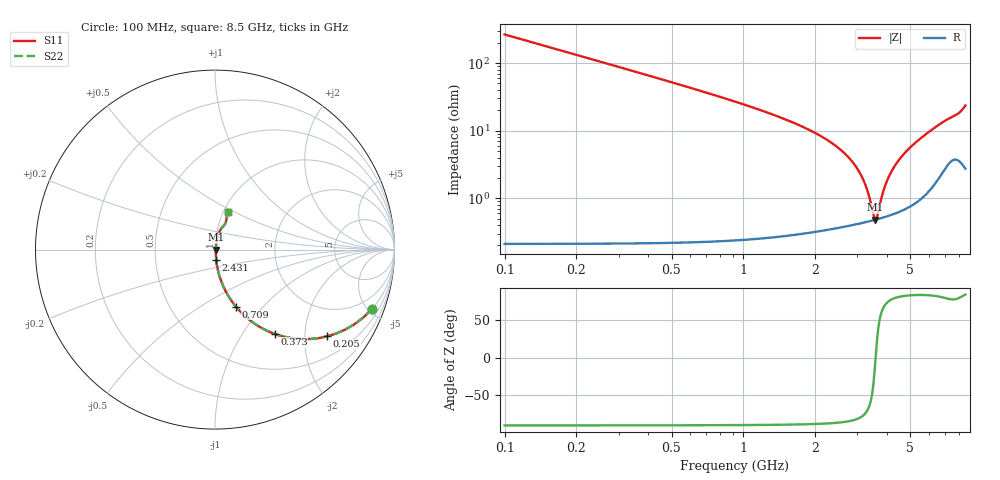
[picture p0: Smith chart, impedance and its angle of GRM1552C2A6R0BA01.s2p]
!Murata Part Number: GRM1552C2A6R0BA01
!These Parameters are Measured in Series Mode Connection
!Data Generated on Mar 30, 2021
!  o--ll--o
!Port1  Port2
!  o------o
!Operation Temp=25[degC], DC Bias Voltage=0[V]
!Freq. Start=100[MHz] Stop=9[GHz] 401[Steps]
# Hz S RI R 50
!Freq.(Hz) S11(Real) S11(Imag) S21(Real) S21(Imag) S12(Real) S12(Imag) S22(Real) S22(Imag)
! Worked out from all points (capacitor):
!   401 points, 100 MHz to 8.5 GHz, reference 50 ohm
!   read as one part in series: C = 6 pF near 142 MHz
!   lowest |Z| = 482 mohm at 3.565 GHz (marker M1)
!   series resonance near 3.578 GHz, so ESL is about 330 pH
!   S11 on the Smith chart (normalised r, x): 100 MHz: 1.00, -5.30; 205 MHz: 1.00, -2.58; 373 MHz: 1.00, -1.41; 709 MHz: 1.00, -0.72; 2.431 GHz: 1.01, -0.12; 8.5 GHz: 1.05, +0.47
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1e8  0.8752 -0.3301  0.1248 0.3301  0.1248 0.3301  0.8752 -0.3301
2.05e8  0.6244 -0.4835  0.3756 0.4835  0.3756 0.4835  0.6244 -0.4835
3.73e8  0.3316 -0.4693  0.6684 0.4693  0.6684 0.4693  0.3316 -0.4693
5.2e8  0.2008 -0.3984  0.7992 0.3984  0.7992 0.3984  0.2008 -0.3984
7.09e8  0.1161 -0.3173  0.8839 0.3173  0.8839 0.3173  0.1161 -0.3173
1.024e9  0.0558 -0.2245  0.9442 0.2245  0.9442 0.2245  0.0558 -0.2245
1.507e9  0.0233 -0.1417  0.9767 0.1417  0.9767 0.1417  0.0233 -0.1417
2.431e9  0.00706 -0.059  0.9929 0.059  0.9929 0.059  0.00706 -0.059
2.914e9  0.00501 -0.0311  0.995 0.0311  0.995 0.0311  0.00501 -0.0311
3.229e9  0.00462 -0.0156  0.9954 0.0156  0.9954 0.0156  0.00462 -0.0156
3.355e9  0.00461 -0.00979  0.9954 0.00979  0.9954 0.00979  0.00461 -0.00979
3.502e9  0.0047 -0.00327  0.9953 0.00327  0.9953 0.00327  0.0047 -0.00327
3.565e9  0.00477 -0.000542  0.9952 0.000542  0.9952 0.000542  0.00477 -0.000542
3.628e9  0.00486 0.00215  0.9951 -0.00215  0.9951 -0.00215  0.00486 0.00215
3.796e9  0.00516 0.00914  0.9948 -0.00914  0.9948 -0.00914  0.00516 0.00914
3.943e9  0.00551 0.0151  0.9945 -0.0151  0.9945 -0.0151  0.00551 0.0151
4.3e9  0.00671 0.029  0.9933 -0.029  0.9933 -0.029  0.00671 0.029
4.867e9  0.00967 0.0503  0.9903 -0.0503  0.9903 -0.0503  0.00967 0.0503
5.707e9  0.0173 0.0815  0.9827 -0.0815  0.9827 -0.0815  0.0173 0.0815
7.114e9  0.0472 0.1317  0.9528 -0.1317  0.9528 -0.1317  0.0472 0.1317
7.954e9  0.062 0.1603  0.938 -0.1603  0.938 -0.1603  0.062 0.1603
8.5e9  0.0748 0.2112  0.9252 -0.2112  0.9252 -0.2112  0.0748 0.2112
